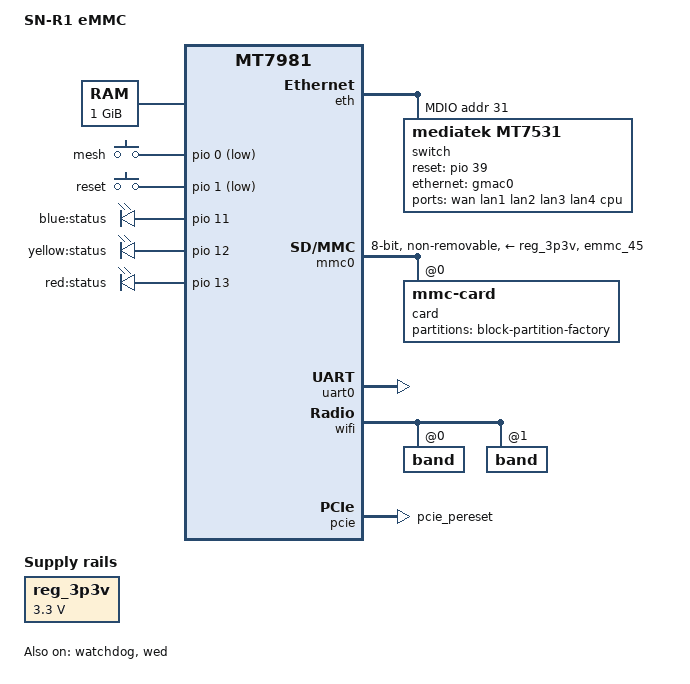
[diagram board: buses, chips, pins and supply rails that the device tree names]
// SPDX-License-Identifier: GPL-2.0-or-later OR MIT

/dts-v1/;
#include <dt-bindings/gpio/gpio.h>
#include <dt-bindings/input/input.h>
#include <dt-bindings/leds/common.h>

#include "mt7981.dtsi"

/ {
	model = "SN-R1 eMMC";
	compatible = "sn,r1-emmc", "mediatek,mt7981";

	aliases {
		serial0 = &uart0;
		led-boot = &status_red_led;
		led-failsafe = &status_red_led;
		led-running = &status_blue_led;
		led-upgrade = &status_yellow_led;
	};

	chosen {
		/* 补全 rootfstype，避免内核识别错误 */
		bootargs = "root=PARTLABEL=rootfs rootwait rootfstype=squashfs,f2fs";
		stdout-path = "serial0:115200n8";
	};

	memory@40000000 {
		reg = <0 0x40000000 0 0x40000000>;
	};

	/* ---- 新增：3.3V 稳压器（&mmc0 依赖） ---- */
	reg_3p3v: regulator-3p3v {
		compatible = "regulator-fixed";
		regulator-name = "fixed-3.3V";
		regulator-min-microvolt = <3300000>;
		regulator-max-microvolt = <3300000>;
		regulator-boot-on;
		regulator-always-on;
	};

	gpio-keys {
		compatible = "gpio-keys";

		button-mesh {
			label = "mesh";
			linux,code = <BTN_9>;
			linux,input-type = <EV_SW>;
			gpios = <&pio 0 GPIO_ACTIVE_LOW>;
		};

		button-reset {
			label = "reset";
			linux,code = <KEY_RESTART>;
			gpios = <&pio 1 GPIO_ACTIVE_LOW>;
		};
	};

	gpio-leds {
		compatible = "gpio-leds";

		/* 保留原有 LED 定义（极性不变） */
		status_blue_led: led-0 {
			label = "blue:status";
			gpios = <&pio 11 GPIO_ACTIVE_HIGH>;
            default-state = "on";
		};

		status_yellow_led: led-1 {
			label = "yellow:status";
			gpios = <&pio 12 GPIO_ACTIVE_HIGH>;
            default-state = "off";
		};

		status_red_led: led-2 {
			label = "red:status";
			gpios = <&pio 13 GPIO_ACTIVE_HIGH>;
            default-state = "off";
		};
	};
};

&eth {
	status = "okay";

	gmac0: mac@0 {
		compatible = "mediatek,eth-mac";
		reg = <0>;
		phy-mode = "2500base-x";

		fixed-link {
			speed = <2500>;
			full-duplex;
			pause;
		};
	};

	mdio: mdio-bus {
		#address-cells = <1>;
		#size-cells = <0>;

		switch@0 {
			compatible = "mediatek,mt7531";
			reg = <31>;
			reset-gpios = <&pio 39 0>;

			ports {
				#address-cells = <1>;
				#size-cells = <0>;

				port@0 {
					reg = <0>;
					label = "wan";
				};

				port@1 {
					reg = <1>;
					label = "lan1";
				};

				port@2 {
					reg = <2>;
					label = "lan2";
				};

				port@3 {
					reg = <3>;
					label = "lan3";
				};

				port@4 {
					reg = <4>;
					label = "lan4";
				};

				port@6 {
					reg = <6>;
					label = "cpu";
					ethernet = <&gmac0>;
					phy-mode = "2500base-x";

					fixed-link {
						speed = <2500>;
						full-duplex;
						pause;
					};
				};
			};
		};
	};
};

&mmc0 {
	bus-width = <8>;
	cap-mmc-highspeed;
	max-frequency = <52000000>;
	no-sd;
	no-sdio;
	non-removable;
	pinctrl-names = "default", "state_uhs";
	pinctrl-0 = <&mmc0_pins_default>;
	pinctrl-1 = <&mmc0_pins_uhs>;
	vmmc-supply = <&reg_3p3v>;   /* 现在已定义 */
	status = "okay";

	card@0 {
		compatible = "mmc-card";
		reg = <0>;

		block {
			compatible = "block-device";

			partitions {
				block-partition-factory {
					partname = "factory";

					nvmem-layout {
						compatible = "fixed-layout";
						#address-cells = <1>;
						#size-cells = <1>;

						eeprom_factory_0: eeprom@0 {
							reg = <0x0 0x1000>;   /* 待确认实际大小，可能需改为 0xA0000 */
						};

						macaddr_factory_4: macaddr@4 {
							compatible = "mac-base";
							reg = <0x4 0x6>;
							#nvmem-cell-cells = <1>;
						};
					};
				};
			};
		};
	};
};

&pio {
	mmc0_pins_default: mmc0-pins-default {
		mux {
			function = "flash";
			groups = "emmc_45";
		};
	};

	mmc0_pins_uhs: mmc0-pins-uhs {
		mux {
			function = "flash";
			groups = "emmc_45";
		};
	};

	/* ---- 新增：PCIe 复位引脚（M.2 插槽） ---- */
	pcie_pins: pcie-pins {
		mux {
			function = "pcie";
			groups = "pcie_pereset";
		};
	};
};

&uart0 {
	status = "okay";
};

&watchdog {
	status = "okay";
};

&wifi {
	nvmem-cells = <&eeprom_factory_0>;
	nvmem-cell-names = "eeprom";
	status = "okay";
	/* 新增：明确 2.4GHz 使用基础 MAC（偏移 0） */
	band@0 {
		reg = <0>;
		nvmem-cells = <&macaddr_factory_4 0>;  // 偏移为 0，即基础 MAC
		nvmem-cell-names = "mac-address";
	};

	/* 原有的 5GHz 使用基础 MAC + 1 */
	band@1 {
		reg = <1>;
		nvmem-cells = <&macaddr_factory_4 1>;  // 偏移为 1
		nvmem-cell-names = "mac-address";
	};
};

/* ---- 新增：PCIe 控制器（M.2 插槽） ---- */
&pcie {
	pinctrl-names = "default";
	pinctrl-0 = <&pcie_pins>;
	status = "okay";
};

/* ---- 可选：启用硬件加速（WED） ---- */
&wed {
	dy_txbm_enable = "true";
	dy_txbm_budget = <8>;
	txbm_init_sz = <8>;
	txbm_max_sz = <32>;
	status = "okay";
};

/* ---- USB：按需求启用（目前禁用，若 M.2 模块需要 USB，取消注释以下内容） ---- */
&usb_phy {
	status = "disabled";   /* 如需要，改为 "okay" */
};

&xhci {
	// phys = <&u2port0 PHY_TYPE_USB2>;   /* 若启用，取消注释并配置 */
	// mediatek,u3p-dis-msk = <0x01>;
	status = "disabled";   /* 如需要，改为 "okay" */
};
